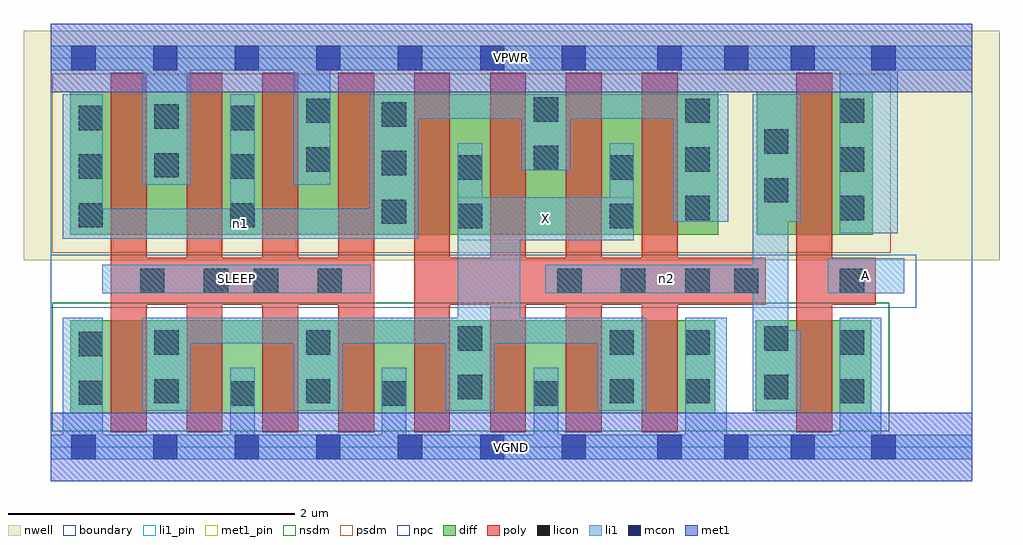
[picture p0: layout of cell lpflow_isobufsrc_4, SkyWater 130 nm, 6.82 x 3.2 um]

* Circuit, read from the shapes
.subckt lpflow_isobufsrc_4 A SLEEP VGND VPWR X n1 n2
XM1 X SLEEP VGND VSUBS sky130_fd_pr__nfet_01v8 w=0.65 l=0.25 m=4
XM2 X n2 VGND VSUBS sky130_fd_pr__nfet_01v8 w=0.65 l=0.25 m=4
XM3 VGND A n2 VSUBS sky130_fd_pr__nfet_01v8 w=0.65 l=0.25
XM4 VPWR SLEEP n1 n3 sky130_fd_pr__pfet_01v8 w=1 l=0.25 m=4
XM5 X n2 n1 n3 sky130_fd_pr__pfet_01v8 w=1 l=0.25 m=4
XM6 VPWR A n2 n3 sky130_fd_pr__pfet_01v8 w=1 l=0.25
.ends

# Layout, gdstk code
import gdstk
lib = gdstk.Library(unit=1e-6, precision=1e-09)
def R(c, l, rs):  # rectangles x0, y0, x1, y1
    for r in rs: c.add(gdstk.rectangle(r[:2], r[2:], *l))
def A(c, l, x, y, w, h, nx, ny, dx, dy):  # array of equal rectangles
    R(c, l, [(x+i*dx, y+j*dy, x+i*dx+w, y+j*dy+h) for i in range(nx) for j in range(ny)])
nwell = (64, 20)
diff = (65, 20)
poly = (66, 20)
licon = (66, 44)
li1_pin = (67, 16)
li1 = (67, 20)
mcon = (67, 44)
met1_pin = (68, 16)
met1 = (68, 20)
nsdm = (93, 44)
psdm = (94, 20)
npc = (95, 20)
boundary = (235, 4)

lpflow_isobufsrc_4 = lib.new_cell('lpflow_isobufsrc_4')
R(lpflow_isobufsrc_4, nwell, [(-0.19,1.305,6.63,2.91), (0,1.305,6.44,2.91)])
R(lpflow_isobufsrc_4, diff, [(0.135,0.235,4.645,0.885), (4.925,0.235,5.735,0.885), (0.135,1.485,4.665,2.485), (4.935,1.485,5.745,2.485)])
A(lpflow_isobufsrc_4, poly, 0.42, 0.105, 0.25, 2.51, 8, 1, 0.53, 0)
R(lpflow_isobufsrc_4, poly, [(5.21,0.105,5.46,2.615), (0.42,0.995,2.26,1.325), (2.54,0.995,4.995,1.325), (5.21,0.995,5.765,1.325)])
A(lpflow_isobufsrc_4, licon, 1.255, 0.29, 0.17, 0.17, 3, 1, 1.06, 0)
A(lpflow_isobufsrc_4, licon, 0.195, 1.535, 0.17, 0.17, 1, 3, 0, 0.34)
A(lpflow_isobufsrc_4, licon, 1.255, 1.535, 0.17, 0.17, 1, 3, 0, 0.34)
A(lpflow_isobufsrc_4, licon, 2.315, 1.56, 0.17, 0.17, 1, 3, 0, 0.34)
A(lpflow_isobufsrc_4, licon, 4.435, 1.585, 0.17, 0.17, 1, 3, 0, 0.34)
A(lpflow_isobufsrc_4, licon, 5.515, 1.585, 0.17, 0.17, 1, 3, 0, 0.34)
R(lpflow_isobufsrc_4, licon, [(0.195,0.295,0.365,0.465), (0.725,0.305,0.895,0.475), (1.785,0.305,1.955,0.475), (3.905,0.305,4.075,0.475), (4.435,0.305,4.605,0.475), (5.515,0.305,5.685,0.475), (2.845,0.335,3.015,0.505), (4.985,0.335,5.155,0.505), (0.195,0.635,0.365,0.805), (0.725,0.645,0.895,0.815), (1.785,0.645,1.955,0.815), (3.905,0.645,4.075,0.815), (4.435,0.645,4.605,0.815), (5.515,0.645,5.685,0.815), (2.845,0.675,3.015,0.845), (4.985,0.675,5.155,0.845), (0.625,1.075,0.795,1.245), (1.07,1.075,1.24,1.245), (1.42,1.075,1.59,1.245), (1.865,1.075,2.035,1.245), (3.54,1.075,3.71,1.245), (3.985,1.075,4.155,1.245), (4.435,1.075,4.605,1.245), (4.775,1.075,4.945,1.245), (5.515,1.075,5.685,1.245), (2.845,1.53,3.015,1.7), (3.905,1.53,4.075,1.7), (4.985,1.71,5.155,1.88), (2.845,1.87,3.015,2.04), (3.905,1.87,4.075,2.04), (0.725,1.885,0.895,2.055), (1.785,1.925,1.955,2.095), (3.375,1.935,3.545,2.105), (4.985,2.05,5.155,2.22), (0.725,2.225,0.895,2.395), (1.785,2.265,1.955,2.435), (3.375,2.275,3.545,2.445)])
R(lpflow_isobufsrc_4, li1_pin, [(0.36,1.075,2.235,1.275), (5.43,1.075,5.965,1.32), (2.845,1.445,4.075,1.745)])
A(lpflow_isobufsrc_4, li1, 1.255, -0.085, 0.17, 0.64, 3, 1, 1.06, 0)
A(lpflow_isobufsrc_4, li1, 0.64, 0.255, 0.34, 0.65, 4, 1, 1.06, 0)
R(lpflow_isobufsrc_4, li1, [(0,-0.085,6.44,0.085), (0.085,-0.085,0.365,0.905), (4.435,-0.085,4.725,0.905), (5.515,-0.085,5.805,0.905), (2.845,0.255,3.015,2.125), (4.905,0.255,5.155,2.465), (4.905,0.255,5.24,0.815), (0.64,0.725,4.16,0.905), (2.845,0.725,3.28,1.745), (0.36,1.075,2.235,1.275), (3.455,1.075,5.155,1.275), (5.43,1.075,5.965,1.32), (2.845,1.445,4.075,1.745), (3.905,1.445,4.075,2.125), (0.085,1.455,2.57,1.665), (0.085,1.455,0.365,2.465), (1.255,1.455,1.425,2.465), (2.23,1.455,2.57,2.465), (5.515,1.495,5.92,2.805), (4.35,1.575,4.735,2.465), (4.905,1.575,5.24,2.465), (0.64,1.835,0.98,2.805), (1.7,1.835,1.955,2.805), (3.29,1.935,3.63,2.465), (2.23,2.295,4.735,2.465), (0,2.635,6.44,2.805)])
A(lpflow_isobufsrc_4, mcon, 0.145, -0.085, 0.17, 0.17, 5, 2, 0.57, 2.72)
A(lpflow_isobufsrc_4, mcon, 4.24, -0.085, 0.17, 0.17, 3, 2, 0.465, 2.72)
R(lpflow_isobufsrc_4, mcon, [(3,-0.085,3.17,0.085), (3.57,-0.085,3.74,0.085), (5.735,-0.085,5.905,0.085), (3,2.635,3.17,2.805), (3.57,2.635,3.74,2.805), (5.735,2.635,5.905,2.805)])
R(lpflow_isobufsrc_4, met1_pin, [(0,-0.24,6.44,0.24), (0,2.48,6.44,2.96)])
R(lpflow_isobufsrc_4, met1, [(0,-0.24,6.44,0.24), (0,2.48,6.44,2.96)])
R(lpflow_isobufsrc_4, nsdm, [(0.01,0.11,5.86,1.01)])
R(lpflow_isobufsrc_4, psdm, [(0.01,1.36,5.87,2.61)])
R(lpflow_isobufsrc_4, npc, [(0,0.975,6.05,1.345)])
R(lpflow_isobufsrc_4, boundary, [(0,0,6.44,2.72)])
lpflow_isobufsrc_4.add(gdstk.Label('A', (5.697,1.197), layer=67, texttype=5))
lpflow_isobufsrc_4.add(gdstk.Label('SLEEP', (1.297,1.175), layer=67, texttype=5))
lpflow_isobufsrc_4.add(gdstk.Label('X', (3.46,1.595), layer=67, texttype=5))
lpflow_isobufsrc_4.add(gdstk.Label('n1', (1.327,1.56), layer=67, texttype=5))
lpflow_isobufsrc_4.add(gdstk.Label('n2', (4.305,1.175), layer=67, texttype=5))
lpflow_isobufsrc_4.add(gdstk.Label('VPWR', (3.22,2.72), layer=68, texttype=5))
lpflow_isobufsrc_4.add(gdstk.Label('VGND', (3.22,0), layer=68, texttype=5))
lpflow_isobufsrc_4.add(gdstk.Label('A', (5.697,1.197), layer=67, texttype=16))
lpflow_isobufsrc_4.add(gdstk.Label('SLEEP', (1.297,1.175), layer=67, texttype=16))
lpflow_isobufsrc_4.add(gdstk.Label('X', (3.46,1.595), layer=67, texttype=16))
lpflow_isobufsrc_4.add(gdstk.Label('VPWR', (3.22,2.72), layer=68, texttype=16))
lpflow_isobufsrc_4.add(gdstk.Label('VGND', (3.22,0), layer=68, texttype=16))

lib.write_gds('lpflow_isobufsrc_4.gds')
